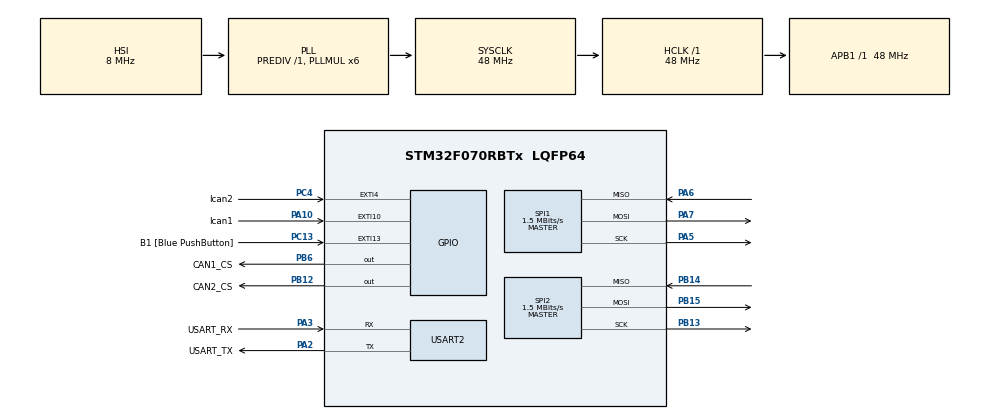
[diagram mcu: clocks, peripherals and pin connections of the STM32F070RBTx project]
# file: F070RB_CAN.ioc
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FREERTOS.BinarySemaphores01=CAN_sem,Dynamic,NULL;uart_tx_sem,Dynamic,NULL
FREERTOS.Tasks01=defaultTask,24,128,StartDefaultTask,Default,NULL,Dynamic,NULL,NULL;CAN,8,128,can_task,Default,NULL,Dynamic,NULL,NULL
FREERTOS.configUSE_NEWLIB_REENTRANT=1
Mcu.Family=STM32F0
Mcu.Name=STM32F070RBTx
Mcu.Package=LQFP64
NVIC.EXTI4_15_IRQn=true\:3\:0\:false\:false\:true\:true\:true\:true\:true
NVIC.TIM1_BRK_UP_TRG_COM_IRQn=true\:3\:0\:false\:false\:true\:false\:false\:true\:true
NVIC.TimeBase=TIM1_BRK_UP_TRG_COM_IRQn
NVIC.TimeBaseIP=TIM1
NVIC.USART2_IRQn=true\:3\:0\:false\:false\:true\:true\:true\:true\:true
PA10.GPIO_Label=Ican1
PA10.GPIO_ModeDefaultEXTI=GPIO_MODE_IT_FALLING
PA10.Signal=GPXTI10
PA13.GPIO_Label=TMS
PA13.Mode=Serial_Wire
PA13.Signal=SYS_SWDIO
PA14.GPIO_Label=TCK
PA14.Mode=Serial_Wire
PA14.Signal=SYS_SWCLK
PA2.GPIO_Label=USART_TX
PA2.Mode=Asynchronous
PA2.Signal=USART2_TX
PA3.GPIO_Label=USART_RX
PA3.Mode=Asynchronous
PA3.Signal=USART2_RX
PA5.Mode=Full_Duplex_Master
PA5.Signal=SPI1_SCK
PA6.Mode=Full_Duplex_Master
PA6.Signal=SPI1_MISO
PA7.Mode=Full_Duplex_Master
PA7.Signal=SPI1_MOSI
PB12.GPIO_Label=CAN2_CS
PB12.Signal=GPIO_Output
PB13.Mode=Full_Duplex_Master
PB13.Signal=SPI2_SCK
PB14.Mode=Full_Duplex_Master
PB14.Signal=SPI2_MISO
PB15.Mode=Full_Duplex_Master
PB15.Signal=SPI2_MOSI
PB6.GPIO_Label=CAN1_CS
PB6.Signal=GPIO_Output
PC13.GPIO_Label=B1 [Blue PushButton]
PC13.GPIO_ModeDefaultEXTI=GPIO_MODE_IT_FALLING
PC13.Signal=GPXTI13
PC14-OSC32_IN.GPIO_Label=RCC_OSC32_IN
PC14-OSC32_IN.Mode=LSE-External-Oscillator
PC14-OSC32_IN.Signal=RCC_OSC32_IN
PC15-OSC32_OUT.GPIO_Label=RCC_OSC32_OUT
PC15-OSC32_OUT.Mode=LSE-External-Oscillator
PC15-OSC32_OUT.Signal=RCC_OSC32_OUT
PC4.GPIO_Label=Ican2
PC4.GPIO_ModeDefaultEXTI=GPIO_MODE_IT_FALLING
PC4.Signal=GPXTI4
PF0-OSC_IN.GPIO_Label=RCC_OSC_IN
PF0-OSC_IN.Mode=HSE-External-Clock-Source
PF0-OSC_IN.Signal=RCC_OSC_IN
PF1-OSC_OUT.GPIO_Label=RCC_OSC_OUT
PF1-OSC_OUT.Signal=RCC_OSC_OUT
ProjectManager.HeapSize=0x200
ProjectManager.StackSize=0x400
ProjectManager.TargetToolchain=STM32CubeIDE
RCC.AHBFreq_Value=48000000
RCC.APB1Freq_Value=48000000
RCC.APB1TimFreq_Value=48000000
RCC.HCLKFreq_Value=48000000
RCC.PLLMUL=RCC_PLL_MUL6
RCC.SYSCLKFreq_VALUE=48000000
RCC.SYSCLKSource=RCC_SYSCLKSOURCE_PLLCLK
SPI1.BaudRatePrescaler=SPI_BAUDRATEPRESCALER_32
SPI1.CalculateBaudRate=1.5 MBits/s
SPI1.DataSize=SPI_DATASIZE_8BIT
SPI1.Direction=SPI_DIRECTION_2LINES
SPI1.Mode=SPI_MODE_MASTER
SPI1.NSSPMode=SPI_NSS_PULSE_DISABLE
SPI1.VirtualType=VM_MASTER
SPI2.BaudRatePrescaler=SPI_BAUDRATEPRESCALER_32
SPI2.CalculateBaudRate=1.5 MBits/s
SPI2.DataSize=SPI_DATASIZE_8BIT
SPI2.Direction=SPI_DIRECTION_2LINES
SPI2.Mode=SPI_MODE_MASTER
SPI2.NSSPMode=SPI_NSS_PULSE_DISABLE
SPI2.VirtualType=VM_MASTER
USART2.VirtualMode-Asynchronous=VM_ASYNC
VP_FREERTOS_VS_CMSIS_V2.Mode=CMSIS_V2
VP_SYS_VS_tim1.Mode=TIM1
board=NUCLEO-F070RB

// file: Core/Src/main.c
/* USER CODE BEGIN Header */
/**
  ******************************************************************************
  * @file           : main.c
  * @brief          : Main program body
  ******************************************************************************
  * @attention
  *
  * Copyright (c) 2022 STMicroelectronics.
  * All rights reserved.
  *
  * This software is licensed under terms that can be found in the LICENSE file
  * in the root directory of this software component.
  * If no LICENSE file comes with this software, it is provided AS-IS.
  *
  ******************************************************************************
  */
/* USER CODE END Header */
#include "main.h"
#include "cmsis_os.h"

/* USER CODE BEGIN Includes */
#include "stdio.h"
#include "stdbool.h"
#include "CANSPI.h"
#include "MCP2515.h"
#include "string.h"
/* USER CODE END Includes */

/* USER CODE BEGIN PD */
#define CAN1 &hspi1
#define CAN2 &hspi2
/* USER CODE END PD */

SPI_HandleTypeDef hspi1;
SPI_HandleTypeDef hspi2;

UART_HandleTypeDef huart2;

/* Definitions for defaultTask */
osThreadId_t defaultTaskHandle;
const osThreadAttr_t defaultTask_attributes = {
  .name = "defaultTask",
  .stack_size = 128 * 4,
  .priority = (osPriority_t) osPriorityNormal,
};
/* Definitions for CAN */
osThreadId_t CANHandle;
const osThreadAttr_t CAN_attributes = {
  .name = "CAN",
  .stack_size = 128 * 4,
  .priority = (osPriority_t) osPriorityLow,
};
/* Definitions for CAN_sem */
osSemaphoreId_t CAN_semHandle;
const osSemaphoreAttr_t CAN_sem_attributes = {
  .name = "CAN_sem"
};
/* Definitions for uart_tx_sem */
osSemaphoreId_t uart_tx_semHandle;
const osSemaphoreAttr_t uart_tx_sem_attributes = {
  .name = "uart_tx_sem"
};
/* USER CODE BEGIN PV */
uint8_t rx_data;
uCAN_MSG txMessage;
uCAN_MSG rxMessage;
bool enable_CAN = false;

/* USER CODE END PV */

void SystemClock_Config(void);
static void MX_GPIO_Init(void);
static void MX_USART2_UART_Init(void);
static void MX_SPI1_Init(void);
static void MX_SPI2_Init(void);
void StartDefaultTask(void *argument);
void can_task(void *argument);

int main(void)
{
  /* USER CODE BEGIN 1 */
	uint8_t tx_buffer[21];

  /* USER CODE END 1 */

  /* MCU Configuration--------------------------------------------------------*/

  /* Reset of all peripherals, Initializes the Flash interface and the Systick. */
  HAL_Init();

  /* Configure the system clock */
  SystemClock_Config();

  /* Initialize all configured peripherals */
  MX_GPIO_Init();
  MX_USART2_UART_Init();
  MX_SPI1_Init();
  MX_SPI2_Init();

  /* Init scheduler */
  osKernelInitialize();

  /* Create the semaphores(s) */
  /* creation of CAN_sem */
  CAN_semHandle = osSemaphoreNew(1, 1, &CAN_sem_attributes);

  /* creation of uart_tx_sem */
  uart_tx_semHandle = osSemaphoreNew(1, 1, &uart_tx_sem_attributes);

  /* Create the thread(s) */
  /* creation of defaultTask */
  defaultTaskHandle = osThreadNew(StartDefaultTask, NULL, &defaultTask_attributes);

  /* creation of CAN */
  CANHandle = osThreadNew(can_task, NULL, &CAN_attributes);

  /* Start scheduler */
  osKernelStart();

  /* We should never get here as control is now taken by the scheduler */
  /* Infinite loop */
  while (1)
  {

  }
}

void SystemClock_Config(void)
{
  RCC_OscInitTypeDef RCC_OscInitStruct = {0};
  RCC_ClkInitTypeDef RCC_ClkInitStruct = {0};

  /** Initializes the RCC Oscillators according to the specified parameters
  * in the RCC_OscInitTypeDef structure.
  */
  RCC_OscInitStruct.OscillatorType = RCC_OSCILLATORTYPE_HSI;
  RCC_OscInitStruct.HSIState = RCC_HSI_ON;
  RCC_OscInitStruct.HSICalibrationValue = RCC_HSICALIBRATION_DEFAULT;
  RCC_OscInitStruct.PLL.PLLState = RCC_PLL_ON;
  RCC_OscInitStruct.PLL.PLLSource = RCC_PLLSOURCE_HSI;
  RCC_OscInitStruct.PLL.PLLMUL = RCC_PLL_MUL6;
  RCC_OscInitStruct.PLL.PREDIV = RCC_PREDIV_DIV1;
  if (HAL_RCC_OscConfig(&RCC_OscInitStruct) != HAL_OK)
  {
    Error_Handler();
  }

  /** Initializes the CPU, AHB and APB buses clocks
  */
  RCC_ClkInitStruct.ClockType = RCC_CLOCKTYPE_HCLK|RCC_CLOCKTYPE_SYSCLK
                              |RCC_CLOCKTYPE_PCLK1;
  RCC_ClkInitStruct.SYSCLKSource = RCC_SYSCLKSOURCE_PLLCLK;
  RCC_ClkInitStruct.AHBCLKDivider = RCC_SYSCLK_DIV1;
  RCC_ClkInitStruct.APB1CLKDivider = RCC_HCLK_DIV1;

  if (HAL_RCC_ClockConfig(&RCC_ClkInitStruct, FLASH_LATENCY_1) != HAL_OK)
  {
    Error_Handler();
  }
}

static void MX_SPI1_Init(void)
{

  /* SPI1 parameter configuration*/
  hspi1.Instance = SPI1;
  hspi1.Init.Mode = SPI_MODE_MASTER;
  hspi1.Init.Direction = SPI_DIRECTION_2LINES;
  hspi1.Init.DataSize = SPI_DATASIZE_8BIT;
  hspi1.Init.CLKPolarity = SPI_POLARITY_LOW;
  hspi1.Init.CLKPhase = SPI_PHASE_1EDGE;
  hspi1.Init.NSS = SPI_NSS_SOFT;
  hspi1.Init.BaudRatePrescaler = SPI_BAUDRATEPRESCALER_32;
  hspi1.Init.FirstBit = SPI_FIRSTBIT_MSB;
  hspi1.Init.TIMode = SPI_TIMODE_DISABLE;
  hspi1.Init.CRCCalculation = SPI_CRCCALCULATION_DISABLE;
  hspi1.Init.CRCPolynomial = 7;
  hspi1.Init.CRCLength = SPI_CRC_LENGTH_DATASIZE;
  hspi1.Init.NSSPMode = SPI_NSS_PULSE_DISABLE;
  if (HAL_SPI_Init(&hspi1) != HAL_OK)
  {
    Error_Handler();
  }

}

static void MX_SPI2_Init(void)
{

  /* SPI2 parameter configuration*/
  hspi2.Instance = SPI2;
  hspi2.Init.Mode = SPI_MODE_MASTER;
  hspi2.Init.Direction = SPI_DIRECTION_2LINES;
  hspi2.Init.DataSize = SPI_DATASIZE_8BIT;
  hspi2.Init.CLKPolarity = SPI_POLARITY_LOW;
  hspi2.Init.CLKPhase = SPI_PHASE_1EDGE;
  hspi2.Init.NSS = SPI_NSS_SOFT;
  hspi2.Init.BaudRatePrescaler = SPI_BAUDRATEPRESCALER_32;
  hspi2.Init.FirstBit = SPI_FIRSTBIT_MSB;
  hspi2.Init.TIMode = SPI_TIMODE_DISABLE;
  hspi2.Init.CRCCalculation = SPI_CRCCALCULATION_DISABLE;
  hspi2.Init.CRCPolynomial = 7;
  hspi2.Init.CRCLength = SPI_CRC_LENGTH_DATASIZE;
  hspi2.Init.NSSPMode = SPI_NSS_PULSE_DISABLE;
  if (HAL_SPI_Init(&hspi2) != HAL_OK)
  {
    Error_Handler();
  }

}

static void MX_USART2_UART_Init(void)
{

  huart2.Instance = USART2;
  huart2.Init.BaudRate = 38400;
  huart2.Init.WordLength = UART_WORDLENGTH_8B;
  huart2.Init.StopBits = UART_STOPBITS_1;
  huart2.Init.Parity = UART_PARITY_NONE;
  huart2.Init.Mode = UART_MODE_TX_RX;
  huart2.Init.HwFlowCtl = UART_HWCONTROL_NONE;
  huart2.Init.OverSampling = UART_OVERSAMPLING_16;
  huart2.Init.OneBitSampling = UART_ONE_BIT_SAMPLE_DISABLE;
  huart2.AdvancedInit.AdvFeatureInit = UART_ADVFEATURE_NO_INIT;
  if (HAL_UART_Init(&huart2) != HAL_OK)
  {
    Error_Handler();
  }

}

static void MX_GPIO_Init(void)
{
  GPIO_InitTypeDef GPIO_InitStruct = {0};

  /* GPIO Ports Clock Enable */
  __HAL_RCC_GPIOC_CLK_ENABLE();
  __HAL_RCC_GPIOF_CLK_ENABLE();
  __HAL_RCC_GPIOA_CLK_ENABLE();
  __HAL_RCC_GPIOB_CLK_ENABLE();

  /*Configure GPIO pin Output Level */
  HAL_GPIO_WritePin(GPIOB, GPIO_PIN_12|GPIO_PIN_6, GPIO_PIN_RESET);

  /*Configure GPIO pins : PC13 PC4 */
  GPIO_InitStruct.Pin = GPIO_PIN_13|GPIO_PIN_4;
  GPIO_InitStruct.Mode = GPIO_MODE_IT_FALLING;
  GPIO_InitStruct.Pull = GPIO_NOPULL;
  HAL_GPIO_Init(GPIOC, &GPIO_InitStruct);

  /*Configure GPIO pins : PB12 PB6 */
  GPIO_InitStruct.Pin = GPIO_PIN_12|GPIO_PIN_6;
  GPIO_InitStruct.Mode = GPIO_MODE_OUTPUT_PP;
  GPIO_InitStruct.Pull = GPIO_NOPULL;
  GPIO_InitStruct.Speed = GPIO_SPEED_FREQ_LOW;
  HAL_GPIO_Init(GPIOB, &GPIO_InitStruct);

  /*Configure GPIO pin : PA10 */
  GPIO_InitStruct.Pin = GPIO_PIN_10;
  GPIO_InitStruct.Mode = GPIO_MODE_IT_FALLING;
  GPIO_InitStruct.Pull = GPIO_NOPULL;
  HAL_GPIO_Init(GPIOA, &GPIO_InitStruct);

  /* EXTI interrupt init*/
  HAL_NVIC_SetPriority(EXTI4_15_IRQn, 3, 0);
  HAL_NVIC_EnableIRQ(EXTI4_15_IRQn);

}

/* USER CODE BEGIN 4 */
void HAL_GPIO_EXTI_Callback(uint16_t GPIO_Pin)
{
	if (GPIO_Pin == Ican1_Pin)
	{

		if((MCP2515_ReadByte(CAN1, MCP2515_CANINTF) & 0x1C) != 0)
		{
			// Poner aqui un punto de ruptura para ver cuando se recibe una interrupcion por
			// transmision en el CAN1
			osSemaphoreRelease(CAN_semHandle);
		}
		if((MCP2515_ReadByte(CAN1, MCP2515_CANINTF) & 0x03) != 0)
		{
			// Poner aqui un punto de ruptura para ver cuando se recibe una interrupcion por
			// recepcion en el CAN1
			__NOP();
		}
	}
	if (GPIO_Pin==Ican2_Pin)
	{

		if((MCP2515_ReadByte(CAN2, MCP2515_CANINTF) & 0x1C) != 0)
		{
			// Poner aqui un punto de ruptura para ver cuando se recibe una interrupcion por
			// transmision en el CAN2
			osSemaphoreRelease(CAN_semHandle);
		}
		if((MCP2515_ReadByte(CAN2, MCP2515_CANINTF) & 0x03) != 0)
		{
			// Poner aqui un punto de ruptura para ver cuando se recibe una interrupcion por
			// recepcion en el CAN2
			__NOP();
		}
	}

}

void HAL_UART_TxCpltCallback(UART_HandleTypeDef *huart) {
	osSemaphoreRelease(uart_tx_semHandle);
}
/* USER CODE END 4 */

void StartDefaultTask(void *argument)
{
  for(;;)
  {
    osDelay(1);
  }
}

void can_task(void *argument)
{
	/* USER CODE BEGIN can_task */
	uint8_t tx_buffer[49], i=0;

	if( CANSPI_Initialize(CAN1)) {
				osSemaphoreAcquire(uart_tx_semHandle, portMAX_DELAY);
				sprintf(tx_buffer, "CAN1 initialized OK\n\r");
				HAL_UART_Transmit_IT(&huart2, tx_buffer, sizeof(tx_buffer));
				dSTANDARD_CAN_MSG_ID_2_0B;
						    	txMessage.frame.id = 15;
						    	txMessage.frame.dlc = 8;
						    	txMessage.frame.data0 = 1;
						    	txMessage.frame.data1 = 2;
						    	txMessage.frame.data2 = 3;
						    	txMessage.frame.data3 = 4;
						    	txMessage.frame.data4 = 5;
						    	txMessage.frame.data5 = 6;
						    	txMessage.frame.data6 = 7;
						    	txMessage.frame.data7 = 8;
						    	CANSPI_Transmit(CAN1, &txMessage);
								osSemaphoreAcquire(uart_tx_semHandle, portMAX_DELAY);
								sprintf(tx_buffer, "CAN1 sending Msg...\n\r");
								HAL_UART_Transmit_IT(&huart2, tx_buffer, sizeof(tx_buffer));
		  }
		  else
		  {
				osSemaphoreAcquire(uart_tx_semHandle, portMAX_DELAY);
				sprintf(tx_buffer, "Error CAN1 initiali\n\r");
				HAL_UART_Transmit_IT(&huart2, tx_buffer, sizeof(tx_buffer));
		  }
		  if (CANSPI_Initialize(CAN2)) {
				osSemaphoreAcquire(uart_tx_semHandle, portMAX_DELAY);
				sprintf(tx_buffer, "CAN2 initialized OK\n\r");
				HAL_UART_Transmit_IT(&huart2, tx_buffer, sizeof(tx_buffer));
				dSTANDARD_CAN_MSG_ID_2_0B;
						    	txMessage.frame.id = 25;
						    	txMessage.frame.dlc = 8;
						    	txMessage.frame.data0 = 8;
						    	txMessage.frame.data1 = 7;
						    	txMessage.frame.data2 = 6;
						    	txMessage.frame.data3 = 5;
						    	txMessage.frame.data4 = 4;
						    	txMessage.frame.data5 = 3;
						    	txMessage.frame.data6 = 2;
						    	txMessage.frame.data7 = 1;
						    	CANSPI_Transmit(CAN2, &txMessage);
								osSemaphoreAcquire(uart_tx_semHandle, portMAX_DELAY);
								sprintf(tx_buffer, "CAN2 sending Msg...\n\r");
								HAL_UART_Transmit_IT(&huart2, tx_buffer, sizeof(tx_buffer));
		  }
		  else
		  {
				osSemaphoreAcquire(uart_tx_semHandle, portMAX_DELAY);
				sprintf(tx_buffer, "Error CAN2 initiali\n\r");
				HAL_UART_Transmit_IT(&huart2, tx_buffer, sizeof(tx_buffer));

		  }

		  /* Infinite loop */
		  for(;;)
		  {
				osSemaphoreAcquire(CAN_semHandle, portMAX_DELAY);
			    if(CANSPI_Receive(CAN1, &rxMessage))
			    {
					// Coger el semáforo de envío de trama por la UART
					osSemaphoreAcquire(uart_tx_semHandle, portMAX_DELAY);
					sprintf(tx_buffer, "CAN1 RX: id= %2d, dlc= %1d, datos= %1d,%1d,%1d,%1d,%1d,%1d,%1d,%1d\n\r",
							rxMessage.frame.id, rxMessage.frame.dlc,rxMessage.frame.data0,rxMessage.frame.data1,
							rxMessage.frame.data2,rxMessage.frame.data3,rxMessage.frame.data4,rxMessage.frame.data5,
							rxMessage.frame.data6,rxMessage.frame.data7);
					HAL_UART_Transmit_IT(&huart2, tx_buffer, sizeof(tx_buffer));
					CANSPI_CL_Flag_Int(CAN1);
			    	txMessage.frame.idType = dSTANDARD_CAN_MSG_ID_2_0B;
			    	txMessage.frame.id = 15;
			    	txMessage.frame.dlc = 8;
			    	txMessage.frame.data0 = 1;
			    	txMessage.frame.data1 = 2;
			    	txMessage.frame.data2 = 3;
			    	txMessage.frame.data3 = 4;
			    	txMessage.frame.data4 = 5;
			    	txMessage.frame.data5 = 6;
			    	txMessage.frame.data6 = 7;
			    	txMessage.frame.data7 = 8;
			    	CANSPI_Transmit(CAN1, &txMessage);
					osSemaphoreAcquire(uart_tx_semHandle, portMAX_DELAY);
			    	for (i=0; i<49; i++) tx_buffer[i]=0;
					sprintf(tx_buffer, "CAN1 sending Msg...\n\r");
					HAL_UART_Transmit_IT(&huart2, tx_buffer, sizeof(tx_buffer));
			    } else
			    if(CANSPI_Receive(CAN2, &rxMessage))
			    {
					// Coger el semáforo de envío de trama por la UART
					osSemaphoreAcquire(uart_tx_semHandle, portMAX_DELAY);
					sprintf(tx_buffer, "CAN2 RX: id= %2d, dlc= %1d, datos= %1d,%1d,%1d,%1d,%1d,%1d,%1d,%1d\n\r",
							rxMessage.frame.id, rxMessage.frame.dlc,rxMessage.frame.data0,rxMessage.frame.data1,
							rxMessage.frame.data2,rxMessage.frame.data3,rxMessage.frame.data4,rxMessage.frame.data5,
							rxMessage.frame.data6,rxMessage.frame.data7);
					HAL_UART_Transmit_IT(&huart2, tx_buffer, sizeof(tx_buffer));
					CANSPI_CL_Flag_Int(CAN2);
			    	txMessage.frame.idType = dSTANDARD_CAN_MSG_ID_2_0B;
			    	txMessage.frame.id = 25;
			    	txMessage.frame.dlc = 8;
			    	txMessage.frame.data0 = 8;
			    	txMessage.frame.data1 = 7;
			    	txMessage.frame.data2 = 6;
			    	txMessage.frame.data3 = 5;
			    	txMessage.frame.data4 = 4;
			    	txMessage.frame.data5 = 3;
			    	txMessage.frame.data6 = 2;
			    	txMessage.frame.data7 = 1;
			    	CANSPI_Transmit(CAN2, &txMessage);
					osSemaphoreAcquire(uart_tx_semHandle, portMAX_DELAY);
			    	for (i=0; i<49; i++) tx_buffer[i]=0;
					sprintf(tx_buffer, "CAN2 sending Msg...\n\r");
					HAL_UART_Transmit_IT(&huart2, tx_buffer, sizeof(tx_buffer));
			    }
			    osDelay(1000);
		  }
	/* USER CODE END can_task */
}

void HAL_TIM_PeriodElapsedCallback(TIM_HandleTypeDef *htim)
{
  if (htim->Instance == TIM1) {
    HAL_IncTick();
  }
}

void Error_Handler(void)
{
  __disable_irq();
  while (1)
  {
  }
}
